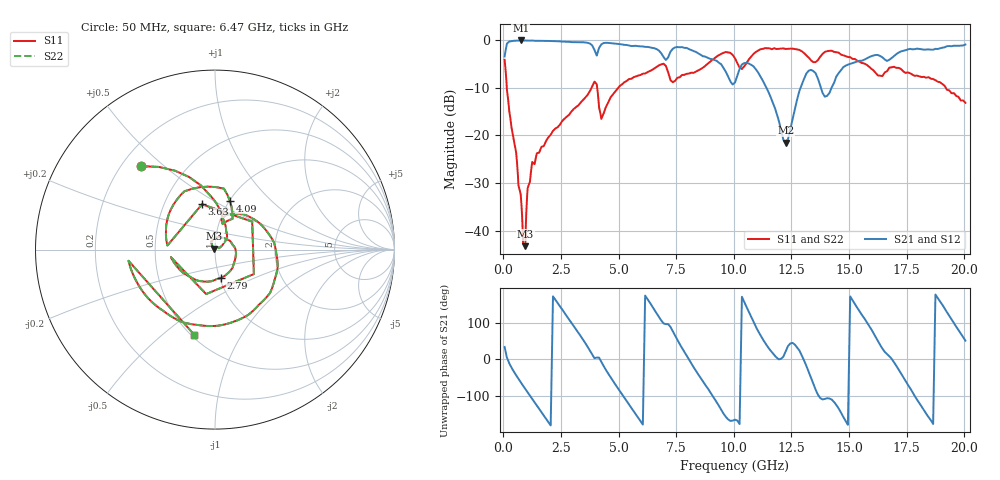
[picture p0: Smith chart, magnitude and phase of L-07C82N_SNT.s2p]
#	mhz	s	ma	r	50
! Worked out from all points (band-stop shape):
!   1001 points, 50 MHz to 20.05 GHz, reference 50 ohm
!   highest |S21| = -0.09 dB at 750 MHz (marker M1); lowest = -21.5 dB at 12.25 GHz (marker M2)
!   |S21| within 3 dB of the highest: 61.95 MHz to 4.037 GHz (3.975 GHz wide, 194 % of centre); 17.02 GHz to end of sweep (the widest 2 of 4)
!   lowest |S11| = -43.2 dB at 950 MHz (marker M3), VSWR 1.01, Z = 49.6 + j0.535 ohm
!   |S11| at or under -10 dB: 145.2 MHz to 3.826 GHz (3.681 GHz wide, 185 % of centre); 4.069 GHz to 4.986 GHz (917.5 MHz wide, 20.3 % of centre); 19.2 GHz to end of sweep
!   |S22| runs from -43.2 to -1.7 dB; largest |S21 - S12| = 0
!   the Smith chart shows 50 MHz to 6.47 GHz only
!   S11 on the Smith chart (normalised r, x): 50 MHz: 0.28, +0.42; 2.79 GHz: 1.01, -0.33; 3.63 GHz: 0.77, +0.42; 4.09 GHz: 1.00, +0.60; 6.47 GHz: 0.52, -0.65
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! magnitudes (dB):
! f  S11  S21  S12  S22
! 50 MHz  -4.1  -3.5  -3.5  -4.1
! 750 MHz  -32.4  -0.1  -0.1  -32.4
! 870 MHz  -42.7  -0.1  -0.1  -42.7
! 950 MHz  -43.2  -0.1  -0.1  -43.2
! 1.13 GHz  -29.9  -0.1  -0.1  -29.9
! 1.33 GHz  -25.9  -0.2  -0.2  -25.9
! 2.79 GHz  -15.9  -0.4  -0.4  -15.9
! 3.39 GHz  -12.9  -0.5  -0.5  -12.9
! 3.63 GHz  -11.6  -0.6  -0.6  -11.6
! 4.09 GHz  -10.9  -2.6  -2.6  -10.9
! 4.31 GHz  -15.8  -0.7  -0.7  -15.8
! 6.47 GHz  -6.2  -1.7  -1.7  -6.2
! 6.73 GHz  -5.4  -2.2  -2.2  -5.4
! 7.37 GHz  -8.8  -1.8  -1.8  -8.8
! 10.05 GHz  -3.8  -8.9  -8.9  -3.8
! 10.91 GHz  -2.7  -5.9  -5.9  -2.7
! 12.25 GHz  -1.9  -21.5  -21.5  -1.9
! 13.39 GHz  -4.4  -6.4  -6.4  -4.4
! 14.01 GHz  -2.4  -11.8  -11.8  -2.4
! 14.85 GHz  -3.4  -5.4  -5.4  -3.4
! 16.73 GHz  -5.9  -4.2  -4.2  -5.9
! 20.05 GHz  -13.2  -0.9  -0.9  -13.2
